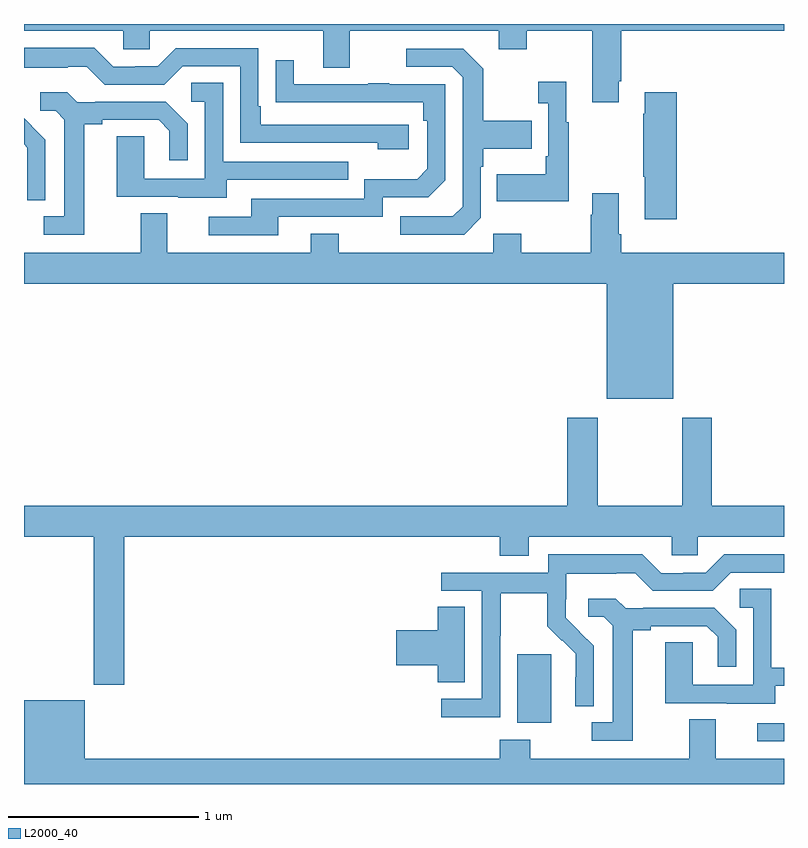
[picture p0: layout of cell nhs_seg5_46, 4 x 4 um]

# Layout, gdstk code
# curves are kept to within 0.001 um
import gdstk
lib = gdstk.Library(unit=1e-6, precision=1e-09)
def R(c, l, rs):  # rectangles x0, y0, x1, y1
    for r in rs: c.add(gdstk.rectangle(r[:2], r[2:], *l))
def P(c, l, *ps):  # polygons
    for p in ps: c.add(gdstk.Polygon(p, *l))
L2000_40 = (2000, 40)

nhs_seg5_46 = lib.new_cell('nhs_seg5_46')
R(nhs_seg5_46, L2000_40, [(116.859,849.024,117,849.12), (115.595,849.122,115.774,849.483)])
P(nhs_seg5_46, L2000_40, [(116.131,852.499),(116.144,852.499),(116.144,852.764),(117,852.764),(117,852.799),(113,852.799),(113,852.764),(113.523,852.764),(113.523,852.666),(113.661,852.666),(113.661,852.764),(114.575,852.764),(114.575,852.57),(114.715,852.57),(114.715,852.764),(115.499,852.764),(115.499,852.665),(115.647,852.665),(115.647,852.764),(115.991,852.764),(115.991,852.387),(116.131,852.387)],
  [(115.024,852.27),(114.247,852.27),(114.247,852.367),(114.234,852.367),(114.234,852.672),(113.799,852.672),(113.703,852.576),(113.585,852.576),(113.585,852.573),(113.469,852.573),(113.369,852.673),(113,852.673),(113,852.569),(113.231,852.569),(113.231,852.573),(113.331,852.573),(113.424,852.48),(113.739,852.48),(113.835,852.576),(114.138,852.576),(114.138,852.174),(114.863,852.174),(114.863,852.14),(115.024,852.14)],
  [(115.404,851.778),(115.404,852.047),(115.417,852.047),(115.417,852.143),(115.673,852.143),(115.673,852.291),(115.417,852.291),(115.417,852.563),(115.311,852.669),(115.011,852.669),(115.011,852.573),(115.254,852.573),(115.308,852.519),(115.308,851.838),(115.257,851.787),(114.981,851.787),(114.981,851.691),(115.317,851.691)],
  [(114.337,851.784),(114.888,851.784),(114.888,851.886),(115.128,851.886),(115.218,851.976),(115.218,852.483),(114.923,852.483),(114.923,852.488),(114.811,852.488),(114.811,852.483),(114.421,852.483),(114.421,852.607),(114.325,852.607),(114.325,852.388),(115.102,852.387),(115.102,852.29),(115.122,852.29),(115.122,852.036),(115.069,851.983),(114.792,851.983),(114.792,851.88),(114.197,851.88),(114.197,851.784),(113.973,851.784),(113.973,851.688),(114.337,851.688)],
  [(115.867,852.283),(115.855,852.283),(115.855,852.496),(115.707,852.496),(115.707,852.383),(115.758,852.383),(115.758,852.103),(115.746,852.103),(115.746,852.007),(115.489,852.007),(115.489,851.867),(115.867,851.867)],
  [(114.067,851.979),(114.707,851.979),(114.707,852.075),(114.048,852.075),(114.048,852.491),(113.88,852.491),(113.88,852.39),(113.952,852.39),(113.952,851.985),(113.634,851.985),(113.634,852.209),(113.489,852.209),(113.489,851.889),(113.813,851.889),(113.813,851.885),(114.067,851.885)],
  [(116.435,852.439),(116.267,852.439),(116.267,852.326),(116.26,852.326),(116.26,851.995),(116.267,851.995),(116.267,851.772),(116.435,851.772)],
  [(113.317,852.272),(113.413,852.272),(113.413,852.294),(113.708,852.294),(113.765,852.237),(113.765,852.081),(113.862,852.081),(113.862,852.274),(113.746,852.39),(113.374,852.39),(113.374,852.387),(113.28,852.387),(113.228,852.439),(113.085,852.439),(113.085,852.342),(113.166,852.342),(113.213,852.295),(113.213,851.787),(113.103,851.787),(113.103,851.691),(113.317,851.691)],
  [(113.112,852.19),(113.039,852.263),(113.04,852.264),(113,852.304),(113,852.167),(113.018,852.149),(113.018,852.026),(113.016,852.026),(113.016,851.872),(113.112,851.872)],
  [(116.416,851.432),(117,851.432),(117,851.596),(116.144,851.596),(116.144,851.692),(116.131,851.692),(116.131,851.908),(115.991,851.908),(115.991,851.795),(115.984,851.795),(115.984,851.596),(115.617,851.596),(115.617,851.695),(115.47,851.695),(115.47,851.596),(114.657,851.596),(114.657,851.695),(114.509,851.695),(114.509,851.596),(113.755,851.596),(113.755,851.804),(113.615,851.804),(113.615,851.596),(113,851.596),(113,851.432),(116.066,851.432),(116.066,850.826),(116.416,850.826)],
  [(113.528,850.1),(115.505,850.1),(115.505,850.001),(115.657,850.001),(115.657,850.1),(116.409,850.1),(116.409,850.002),(116.547,850.002),(116.547,850.1),(117,850.1),(117,850.264),(116.619,850.264),(116.619,850.726),(116.464,850.726),(116.464,850.264),(116.019,850.264),(116.019,850.726),(115.859,850.726),(115.859,850.264),(113,850.264),(113,850.1),(113.368,850.1),(113.368,849.321),(113.528,849.321)],
  [(115.506,849.58),(115.509,849.58),(115.509,849.804),(115.753,849.804),(115.753,849.629),(115.83,849.552),(115.833,849.555),(115.904,849.485),(115.904,849.362),(115.902,849.362),(115.902,849.208),(115.998,849.208),(115.998,849.526),(115.852,849.674),(115.852,849.771),(115.854,849.771),(115.854,849.905),(116.117,849.905),(116.117,849.909),(116.217,849.909),(116.31,849.816),(116.625,849.816),(116.721,849.912),(117,849.912),(117,850.008),(116.685,850.008),(116.589,849.912),(116.471,849.912),(116.471,849.909),(116.355,849.909),(116.255,850.009),(115.758,850.009),(115.758,849.912),(115.197,849.912),(115.197,849.816),(115.41,849.816),(115.41,849.249),(115.197,849.249),(115.197,849.151),(115.506,849.151)],
  [(116.953,849.315),(117,849.315),(117,849.411),(116.934,849.411),(116.934,849.827),(116.766,849.827),(116.766,849.726),(116.838,849.726),(116.838,849.321),(116.52,849.321),(116.52,849.545),(116.375,849.545),(116.375,849.225),(116.699,849.225),(116.699,849.221),(116.953,849.221)],
  [(116.203,849.608),(116.299,849.608),(116.299,849.63),(116.594,849.63),(116.651,849.573),(116.651,849.417),(116.748,849.417),(116.748,849.61),(116.632,849.726),(116.26,849.726),(116.26,849.723),(116.166,849.723),(116.114,849.775),(115.971,849.775),(115.971,849.678),(116.052,849.678),(116.099,849.631),(116.099,849.123),(115.989,849.123),(115.989,849.027),(116.203,849.027)],
  [(115.321,849.731),(115.178,849.731),(115.178,849.608),(114.96,849.608),(114.96,849.425),(115.178,849.425),(115.178,849.334),(115.321,849.334)],
  [(117,848.932),(116.641,848.932),(116.641,849.14),(116.501,849.14),(116.501,848.932),(115.665,848.932),(115.665,849.031),(115.505,849.031),(115.505,848.932),(113.32,848.932),(113.32,849.241),(113,849.241),(113,848.799),(117,848.799)])

lib.write_gds('nhs_seg5_46.gds')
